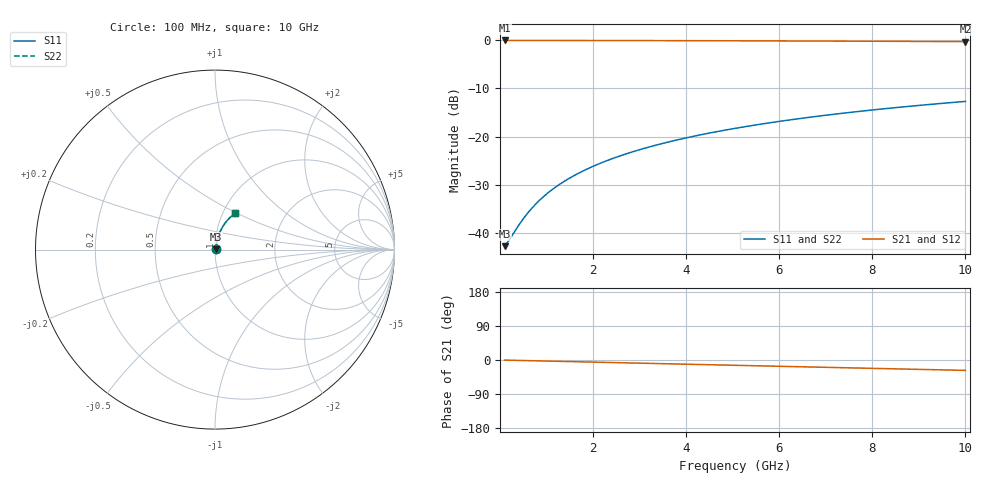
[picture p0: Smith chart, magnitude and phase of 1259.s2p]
# Hz S RI R 50.00
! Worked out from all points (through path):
!   100 points, 100 MHz to 10 GHz, reference 50 ohm
!   highest |S21| = -0.06 dB at 100 MHz (marker M1); lowest = -0.3 dB at 10 GHz (marker M2)
!   group delay of S21, straight-line fit = 7.62 ps
!   lowest |S11| = -42.7 dB at 100 MHz (marker M3), VSWR 1.01, Z = 50.7 + j0.245 ohm
!   |S11| at or under -10 dB: start of sweep to end of sweep
!   |S22| runs from -42.7 to -12.7 dB; largest |S21 - S12| = 0
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1e8  0.00696 0.00241  0.993 -0.00482  0.993 -0.00482  0.00696 0.00241
2e8  0.00704 0.00483  0.9929 -0.00963  0.9929 -0.00963  0.00704 0.00483
4e8  0.00723 0.00965  0.9927 -0.0193  0.9927 -0.0193  0.00723 0.00965
5e8  0.00736 0.0121  0.9926 -0.0241  0.9926 -0.0241  0.00736 0.0121
6e8  0.00751 0.0145  0.9924 -0.0289  0.9924 -0.0289  0.00751 0.0145
7e8  0.00768 0.0169  0.9922 -0.0337  0.9922 -0.0337  0.00768 0.0169
8e8  0.00787 0.0193  0.9919 -0.0385  0.9919 -0.0385  0.00787 0.0193
1e9  0.00832 0.0241  0.9914 -0.0481  0.9914 -0.0481  0.00832 0.0241
1.2e9  0.00886 0.0289  0.9907 -0.0577  0.9907 -0.0577  0.00886 0.0289
1.5e9  0.00984 0.036  0.9895 -0.0721  0.9895 -0.0721  0.00984 0.036
1.8e9  0.011 0.0432  0.988 -0.0864  0.988 -0.0864  0.011 0.0432
2.1e9  0.0124 0.0503  0.9863 -0.1007  0.9863 -0.1007  0.0124 0.0503
2.5e9  0.0146 0.0596  0.9836 -0.1197  0.9836 -0.1197  0.0146 0.0596
2.9e9  0.0171 0.0689  0.9804 -0.1387  0.9804 -0.1387  0.0171 0.0689
3.4e9  0.0207 0.0804  0.9758 -0.1621  0.9758 -0.1621  0.0207 0.0804
4.2e9  0.0277 0.0982  0.9671 -0.1993  0.9671 -0.1993  0.0277 0.0982
5.1e9  0.0371 0.1175  0.9552 -0.2403  0.9552 -0.2403  0.0371 0.1175
5.9e9  0.0468 0.1339  0.9429 -0.276  0.9429 -0.276  0.0468 0.1339
6.7e9  0.0577 0.1494  0.929 -0.3109  0.929 -0.3109  0.0577 0.1494
7.5e9  0.0697 0.164  0.9136 -0.3448  0.9136 -0.3448  0.0697 0.164
8.4e9  0.0843 0.1792  0.8947 -0.3818  0.8947 -0.3818  0.0843 0.1792
1e10  0.1131 0.2027  0.857 -0.4442  0.857 -0.4442  0.1131 0.2027
